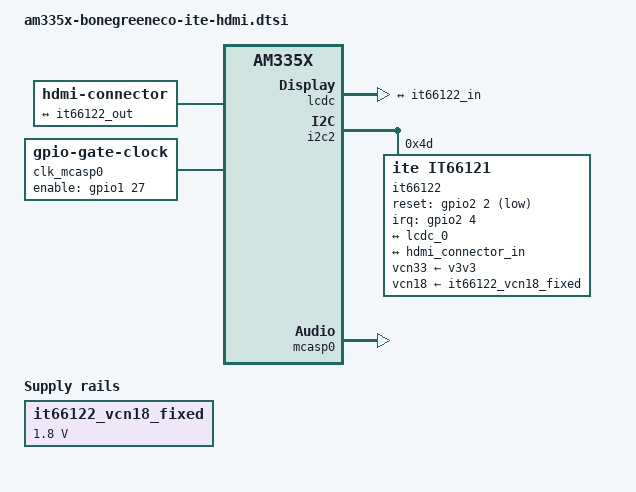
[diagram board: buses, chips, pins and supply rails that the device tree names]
// SPDX-License-Identifier: GPL-2.0-only
/*
 * Copyright (C) 2012 Texas Instruments Incorporated - https://www.ti.com/
 */

#include <dt-bindings/interrupt-controller/irq.h>

/ {
	connector-hdmi {
		compatible = "hdmi-connector";
		label = "hdmi";
		type = "a";
		port {
			hdmi_connector_in: endpoint {
				remote-endpoint = <&it66122_out>;
			};
		};
	};

	it66122_vcn18_fixed: fixedregulator1 {
		compatible = "regulator-fixed";
		regulator-name = "it66122_vcn18_fixed";
		regulator-min-microvolt = <1800000>;
		regulator-max-microvolt = <1800000>;
	};
};

&am33xx_pinmux {
	nxp_hdmi_bonelt_pins: nxp-hdmi-bonelt-pins {
		pinctrl-single,pins = <
			AM33XX_PADCONF(AM335X_PIN_XDMA_EVENT_INTR0, PIN_OUTPUT_PULLDOWN, MUX_MODE3)
			AM33XX_PADCONF(AM335X_PIN_LCD_DATA0, PIN_OUTPUT, MUX_MODE0)
			AM33XX_PADCONF(AM335X_PIN_LCD_DATA1, PIN_OUTPUT, MUX_MODE0)
			AM33XX_PADCONF(AM335X_PIN_LCD_DATA2, PIN_OUTPUT, MUX_MODE0)
			AM33XX_PADCONF(AM335X_PIN_LCD_DATA3, PIN_OUTPUT, MUX_MODE0)
			AM33XX_PADCONF(AM335X_PIN_LCD_DATA4, PIN_OUTPUT, MUX_MODE0)
			AM33XX_PADCONF(AM335X_PIN_LCD_DATA5, PIN_OUTPUT, MUX_MODE0)
			AM33XX_PADCONF(AM335X_PIN_LCD_DATA6, PIN_OUTPUT, MUX_MODE0)
			AM33XX_PADCONF(AM335X_PIN_LCD_DATA7, PIN_OUTPUT, MUX_MODE0)
			AM33XX_PADCONF(AM335X_PIN_LCD_DATA8, PIN_OUTPUT, MUX_MODE0)
			AM33XX_PADCONF(AM335X_PIN_LCD_DATA9, PIN_OUTPUT, MUX_MODE0)
			AM33XX_PADCONF(AM335X_PIN_LCD_DATA10, PIN_OUTPUT, MUX_MODE0)
			AM33XX_PADCONF(AM335X_PIN_LCD_DATA11, PIN_OUTPUT, MUX_MODE0)
			AM33XX_PADCONF(AM335X_PIN_LCD_DATA12, PIN_OUTPUT, MUX_MODE0)
			AM33XX_PADCONF(AM335X_PIN_LCD_DATA13, PIN_OUTPUT, MUX_MODE0)
			AM33XX_PADCONF(AM335X_PIN_LCD_DATA14, PIN_OUTPUT, MUX_MODE0)
			AM33XX_PADCONF(AM335X_PIN_LCD_DATA15, PIN_OUTPUT, MUX_MODE0)
			AM33XX_PADCONF(AM335X_PIN_LCD_VSYNC, PIN_OUTPUT_PULLDOWN, MUX_MODE0)
			AM33XX_PADCONF(AM335X_PIN_LCD_HSYNC, PIN_OUTPUT_PULLDOWN, MUX_MODE0)
			AM33XX_PADCONF(AM335X_PIN_LCD_PCLK, PIN_OUTPUT_PULLDOWN, MUX_MODE0)
			AM33XX_PADCONF(AM335X_PIN_LCD_AC_BIAS_EN, PIN_OUTPUT_PULLDOWN, MUX_MODE0)
		>;
	};

	hdmi_gpio_pins_default: hdmi-gpio-default-pins {
		pinctrl-single,pins = <
			AM33XX_PADCONF(AM335X_PIN_GPMC_ADVN_ALE, PIN_INPUT_PULLUP, MUX_MODE7)	/* HDMI_INT GPMC_ADVN_ALE.GPIO2_2 */
			AM33XX_PADCONF(AM335X_PIN_GPMC_WEN, PIN_OUTPUT_PULLUP, MUX_MODE7) /* HDMI_RESET GPMC_WEN.GPIO2_4 */
		>;
	};

	mcasp0_pins: mcasp0-pins {
		pinctrl-single,pins = <
			AM33XX_PADCONF(AM335X_PIN_MCASP0_AHCLKX, PIN_INPUT_PULLUP, MUX_MODE0) /* mcasp0_ahcklx.mcasp0_ahclkx */
			AM33XX_PADCONF(AM335X_PIN_MCASP0_AHCLKR, PIN_OUTPUT_PULLDOWN, MUX_MODE2) /* mcasp0_ahclkr.mcasp0_axr2*/
			AM33XX_PADCONF(AM335X_PIN_MCASP0_FSX, PIN_OUTPUT_PULLUP, MUX_MODE0)
			AM33XX_PADCONF(AM335X_PIN_MCASP0_ACLKX, PIN_OUTPUT_PULLDOWN, MUX_MODE0)
			AM33XX_PADCONF(AM335X_PIN_GPMC_A11, PIN_OUTPUT_PULLDOWN, MUX_MODE7) /* gpmc_a11.GPIO1_27 */
		>;
	};
};

&lcdc {
	status = "okay";
	pinctrl-names = "default";
	pinctrl-0 = <&nxp_hdmi_bonelt_pins>;

	/* If you want to get 24 bit RGB and 16 BGR mode instead of
	 * current 16 bit RGB and 24 BGR modes, set the propety
	 * below to "crossed" and uncomment the video-ports -property
	 * in tda19988 node.
	 */
	blue-and-red-wiring = "straight";

	port {
		lcdc_0: endpoint@0 {
			remote-endpoint = <&it66122_in>;
		};
	};
};

&i2c2 {
	status = "okay";
	it66122: bridge-hdmi@4d {
		compatible = "ite,it66121";
		reg = <0x4d>;
		pinctrl-names = "default";
		pinctrl-0 = <&hdmi_gpio_pins_default>;

		// vcn33-supply = <&vmmcsd_fixed>;
		vcn33-supply = <&v3v3>;
		vcn18-supply = <&it66122_vcn18_fixed>;
		//vrf12-supply = <&mt6358_vrf12_reg>;
		reset-gpios = <&gpio2 2 GPIO_ACTIVE_LOW>;
		interrupt-parent = <&gpio2>;
		interrupts = <4 IRQ_TYPE_EDGE_FALLING>;
		#sound-dai-cells = <0>;

		ports {
			#address-cells = <1>;
			#size-cells = <0>;

			port@0 {
				reg = <0>;

				it66122_in: endpoint {
					bus-width = <24>;
					remote-endpoint = <&lcdc_0>;
				};
			};

			port@1 {
				reg = <1>;

				it66122_out: endpoint {
					remote-endpoint = <&hdmi_connector_in>;
				};
			};
		};
	};
};

&mcasp0	{
	#sound-dai-cells = <0>;
	pinctrl-names = "default";
	pinctrl-0 = <&mcasp0_pins>;
	status = "okay";
	op-mode = <0>;	/* MCASP_IIS_MODE */
	tdm-slots = <2>;
	serial-dir = <	/* 0: INACTIVE, 1: TX, 2: RX */
			0 0 1 0
		>;
	tx-num-evt = <32>;
	rx-num-evt = <32>;
};

/ {
	clk_mcasp0_fixed: clk_mcasp0_fixed {
		#clock-cells = <0>;
		compatible = "fixed-clock";
		clock-frequency = <24576000>;
	};

	clk_mcasp0: clk_mcasp0 {
		#clock-cells = <0>;
		compatible = "gpio-gate-clock";
		clocks = <&clk_mcasp0_fixed>;
		enable-gpios = <&gpio1 27 0>; /* BeagleBone Black Clk enable on GPIO1_27 */
	};

	sound {
		compatible = "simple-audio-card";
		simple-audio-card,name = "TI BeagleBone Black";
		simple-audio-card,format = "i2s";
		simple-audio-card,bitclock-master = <&dailink0_master>;
		simple-audio-card,frame-master = <&dailink0_master>;

		dailink0_master: simple-audio-card,cpu {
			sound-dai = <&mcasp0>;
			clocks = <&clk_mcasp0>;
		};

		simple-audio-card,codec {
			sound-dai = <&it66122>;
		};
	};
};
